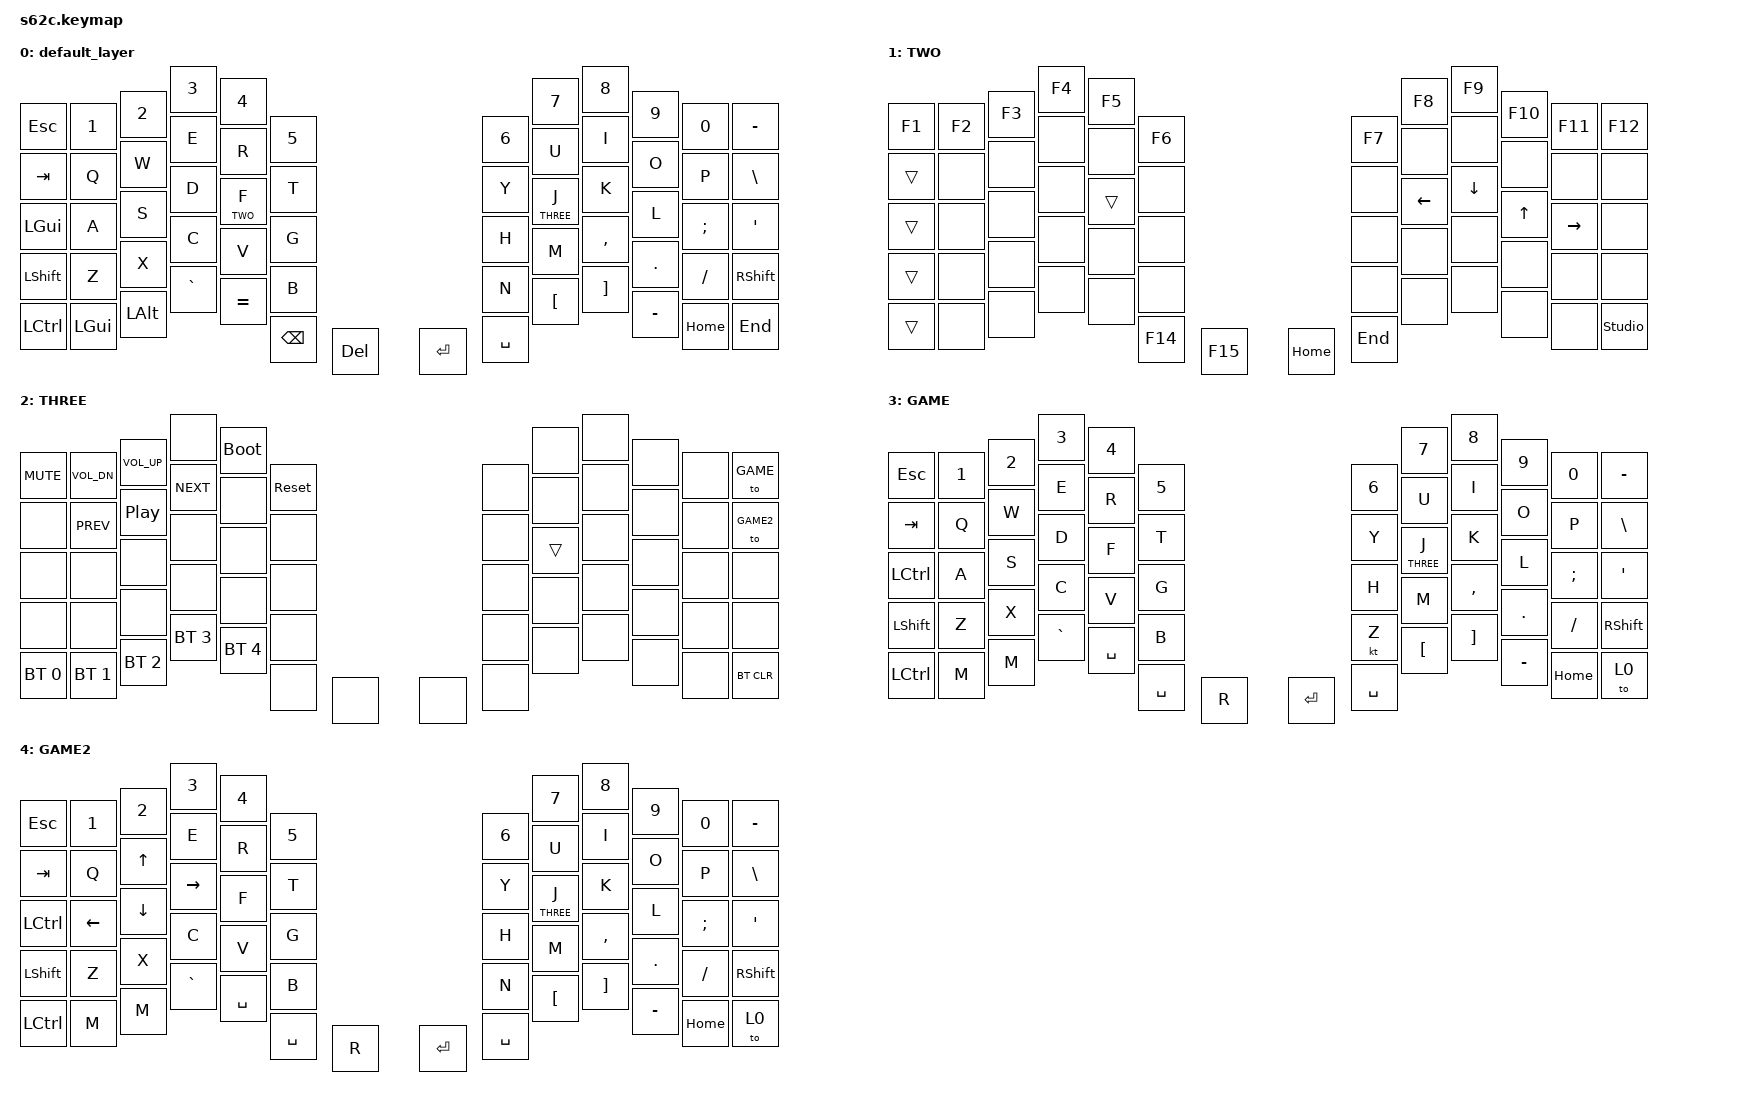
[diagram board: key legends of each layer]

#include <behaviors.dtsi>
#include <dt-bindings/zmk/keys.h>
#include <dt-bindings/zmk/bt.h>
#define TWO 1
#define THREE 2
#define GAME 3
#define GAME2 4
/ {

        keymap {

                compatible = "zmk,keymap";

                default_layer {
// ------------------------------------------------------------------------------------------------------------
// |  ESC  |  1  |  2  |  3   |  4   |  5   |                   |  6   |  7    |  8    |  9   |   0   |   -   |
// |  TAB  |  Q  |  W  |  E   |  R   |  T   |                   |  Y   |  U    |  I    |  O   |   P   |   \   |
// |  CTRL |  A  |  S  |  D   |  F   |  G   |                   |  H   |  J    |  K    |  L   |   ;   |   '   |
// | SHIFT |  Z  |  X  |  C   |  V   |  B   |                   |  N   |  M    |  ,    |  .   |   /   | SHIFT |
// | LCTL  | LGUI  | LALT |  GRAV |  | EQL | DEL | BKSP|  | RET | SPC  | LBKT |  RBKT  | LBKT | HOME  |   END |
                        bindings = <
&kp ESC  &kp N1 &kp N2 &kp N3 &kp N4 &kp N5                    &kp N6 &kp N7 &kp N8 &kp N9 &kp N0 &kp MINUS
&kp TAB  &kp Q     &kp W     &kp E     &kp R     &kp T                        &kp Y     &kp U     &kp I     &kp O     &kp P     &kp BSLH
&kp LGUI &kp A     &kp S     &kp D     &lt TWO F     &kp G                        &kp H     &lt THREE J    &kp K     &kp L     &kp SEMI  &kp SQT
&kp LSHFT &kp Z     &kp X     &kp C     &kp V     &kp B                        &kp N     &kp M     &kp COMMA  &kp DOT   &kp FSLH  &kp RSHFT
&kp LCTRL  &kp LGUI  &kp LALT &kp GRAVE    &kp EQUAL  &kp BSPC &kp DEL         &kp RET     &kp SPACE  &kp LBKT    &kp RBKT   &kp MINUS  &kp HOME   &kp END
                                                                     
                        >;
                };

                TWO {
// ---------------------------------------------------------------------------------------------------------
// |  ESC  |  1  |  2  |  3   |  4   |  5   |                   |  6   |  7    |  8    |  9   |   0   |   -   |
// |  TAB  |  Q  |  W  |  E   |  R   |  T   |                   |  Y   |  U    |  I    |  O   |   P   |   \   |
// |  CTRL |  A  |  S  |  D   |  F   |  G   |                   |  H   |  J    |  K    |  L   |   ;   |   '   |
// | SHIFT |  Z  |  X  |  C   |  V   |  B   |                   |  N   |  M    |  ,    |  .   |   /   | SHIFT |
// | LCTL  | LGUI  | LALT |  GRAV |  | EQL | DEL | BKSP|  | RET | SPC  | LBKT |  RBKT  | LBKT | HOME  |   END |
                        bindings = <
&kp F1  &kp F2 &kp F3 &kp F4 &kp F5 &kp F6                          &kp F7   &kp F8  &kp F9  &kp F10  &kp F11  &kp F12
&trans  &none    &none    &none    &none    &none                       &none   &none  &none  &none  &none  &none
&trans &none     &none     &none     &trans    &none                     &none     &kp LEFT     &kp DOWN     &kp UP     &kp RIGHT  &none
&trans &none     &none     &none     &none     &none                    &none     &none     &none  &none   &none  &none
&trans &none  &none &none  &none  &kp F14     &kp F15                     &kp HOME  &kp END  &none    &none   &none  &none   &studio_unlock
                                                                      
                        >;
                };

                THREE {
// ------------------------------------------------------------------------------------------------------------
// |  ESC  |  1  |  2  |  3   |  4   |  5   |                   |  6   |  7    |  8    |  9   |   0   |   -   |
// |  TAB  |  Q  |  W  |  E   |  R   |  T   |                   |  Y   |  U    |  I    |  O   |   P   |   \   |
// |  CTRL |  A  |  S  |  D   |  F   |  G   |                   |  H   |  J    |  K    |  L   |   ;   |   '   |
// | SHIFT |  Z  |  X  |  C   |  V   |  B   |                   |  N   |  M    |  ,    |  .   |   /   | SHIFT |
// | LCTL  | LGUI  | LALT |  GRAV |  | EQL | DEL | BKSP|  | RET | SPC  | LBKT |  RBKT  | LBKT | HOME  |   END |
                        bindings = <
&kp C_MUTE   &kp C_VOL_DN    &kp C_VOL_UP    &none    &bootloader    &sys_reset                       &none   &none  &none  &none  &none  &to GAME
&none  &kp C_PREV     &kp C_PP   &kp C_NEXT     &none    &none                       &none   &none  &none  &none  &none  &to GAME2
&none &none     &none     &none     &none    &none                     &none   &trans &none  &none  &none  &none
&none &none     &none     &none     &none     &none                    &none   &none  &none  &none  &none  &none
&bt BT_SEL 0 &bt BT_SEL 1  &bt BT_SEL 2 &bt BT_SEL 3  &bt BT_SEL 4  &none &none         &none     &none   &none  &none  &none  &none  &bt BT_CLR
                                                                  
                        >;
                };
                GAME {
// ------------------------------------------------------------------------------------------------------------
// |  ESC  |  1  |  2  |  3   |  4   |  5   |                   |  6   |  7    |  8    |  9   |   0   |   -   |
// |  TAB  |  Q  |  W  |  E   |  R   |  T   |                   |  Y   |  U    |  I    |  O   |   P   |   \   |
// |  CTRL |  A  |  S  |  D   |  F   |  G   |                   |  H   |  J    |  K    |  L   |   ;   |   '   |
// | SHIFT |  Z  |  X  |  C   |  V   |  B   |                   |  N   |  M    |  ,    |  .   |   /   | SHIFT |
// | LCTL  | LGUI  | LALT |  GRAV |  | EQL | DEL | BKSP|  | RET | SPC  | LBKT |  RBKT  | LBKT | HOME  |   END |
                        bindings = <
&kp ESC  &kp N1 &kp N2 &kp N3 &kp N4 &kp N5                    &kp N6 &kp N7 &kp N8 &kp N9 &kp N0 &kp MINUS
&kp TAB  &kp Q     &kp W     &kp E     &kp R     &kp T                        &kp Y     &kp U     &kp I     &kp O     &kp P     &kp BSLH
&kp LCTRL &kp A     &kp S     &kp D     &kp F     &kp G                        &kp H     &lt THREE J    &kp K     &kp L     &kp SEMI  &kp SQT
&kp LSHFT &kp Z     &kp X     &kp C     &kp V     &kp B                        &kt Z     &kp M     &kp COMMA  &kp DOT   &kp FSLH  &kp RSHFT
&kp LCTRL  &kp M  &kp M &kp GRAVE    &kp SPC  &kp SPC &kp R         &kp RET     &kp SPACE  &kp LBKT    &kp RBKT   &kp MINUS  &kp HOME   &to 0                                                                  
                        >;
                };
                                GAME2 {
// ------------------------------------------------------------------------------------------------------------
// |  ESC  |  1  |  2  |  3   |  4   |  5   |                   |  6   |  7    |  8    |  9   |   0   |   -   |
// |  TAB  |  Q  |  W  |  E   |  R   |  T   |                   |  Y   |  U    |  I    |  O   |   P   |   \   |
// |  CTRL |  A  |  S  |  D   |  F   |  G   |                   |  H   |  J    |  K    |  L   |   ;   |   '   |
// | SHIFT |  Z  |  X  |  C   |  V   |  B   |                   |  N   |  M    |  ,    |  .   |   /   | SHIFT |
// | LCTL  | LGUI  | LALT |  GRAV |  | EQL | DEL | BKSP|  | RET | SPC  | LBKT |  RBKT  | LBKT | HOME  |   END |
                        bindings = <
&kp ESC  &kp N1 &kp N2 &kp N3 &kp N4 &kp N5                    &kp N6 &kp N7 &kp N8 &kp N9 &kp N0 &kp MINUS
&kp TAB  &kp Q     &kp UP     &kp E     &kp R     &kp T                        &kp Y     &kp U     &kp I     &kp O     &kp P     &kp BSLH
&kp LCTRL &kp LEFT     &kp DOWN     &kp RIGHT     &kp F     &kp G                        &kp H     &lt THREE J    &kp K     &kp L     &kp SEMI  &kp SQT
&kp LSHFT &kp Z     &kp X     &kp C     &kp V     &kp B                        &kp N     &kp M     &kp COMMA  &kp DOT   &kp FSLH  &kp RSHFT
&kp LCTRL  &kp M  &kp M &kp GRAVE    &kp SPC  &kp SPC &kp R         &kp RET     &kp SPACE  &kp LBKT    &kp RBKT   &kp MINUS  &kp HOME   &to 0                                                                  
                        >;
                };

        extra1 { status = "reserved"; };
        extra2 { status = "reserved"; };
        extra3 { status = "reserved"; };
        extra4 { status = "reserved"; };
        extra5 { status = "reserved"; };

    };
};
